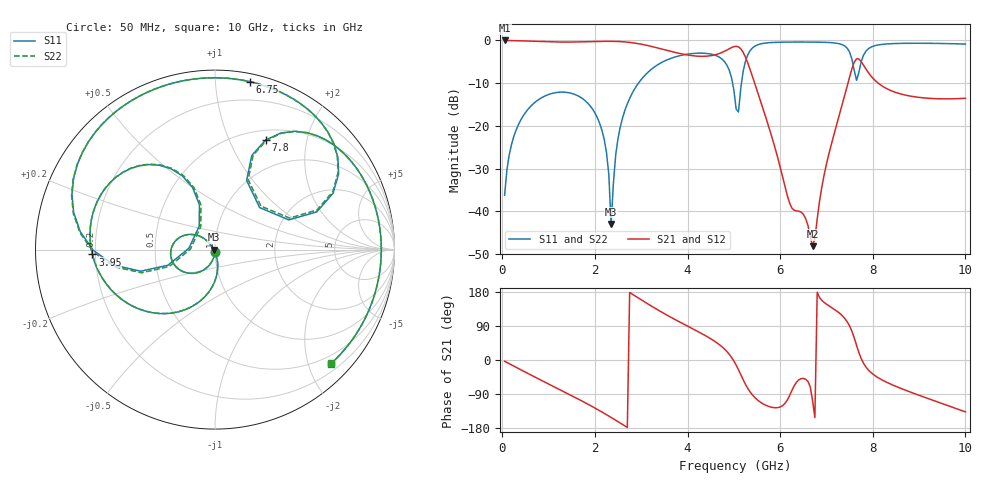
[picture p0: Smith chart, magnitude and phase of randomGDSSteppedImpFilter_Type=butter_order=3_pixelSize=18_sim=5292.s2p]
! freq	dB(S11)	phase(S11)	dB(S12)	phase(S12)
!  dB(S21)	phase(S21)	dB(S22)	phase(S22)
!S-par simulation data
#  GHz  S  DB  R 50
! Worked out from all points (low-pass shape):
!   200 points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, 50 MHz to 10 GHz, reference 50 ohm
!   highest |S21| = -0.01 dB at 50 MHz (marker M1); lowest = -48.1 dB at 6.7 GHz (marker M2)
!   |S21| within 3 dB of the highest: start of sweep to 3.811 GHz; 4.7 GHz to 5.211 GHz (510.4 MHz wide, 10.3 % of centre)
!   lowest |S11| = -42.9 dB at 2.35 GHz (marker M3), VSWR 1.01, Z = 49.3 - j0.0221 ohm
!   |S11| at or under -10 dB: start of sweep to 2.94 GHz; 4.973 GHz to 5.165 GHz (192.5 MHz wide, 3.8 % of centre)
!   |S22| runs from -42.5 to -0.4 dB; largest |S21 - S12| = 0
!   S11 on the Smith chart (normalised r, x): 50 MHz: 1.00, -0.03; 3.95 GHz: 0.19, -0.02; 6.75 GHz: 0.06, +1.22; 7.8 GHz: 0.62, +1.37; 10 GHz: 0.34, -2.41
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0.05  -36.21 -92.4  -0.01 -3.3  -0.01 -3.3  -36.21 -92.4
0.2  -24.29 -103.0  -0.04 -13.0  -0.04 -13.0  -24.29 -103.0
0.55  -16.17 -125.7  -0.16 -35.3  -0.16 -35.3  -16.17 -125.7
1.75  -13.75 160.0  -0.33 -110.1  -0.33 -110.1  -13.75 160.1
2.2  -23.11 132.7  -0.21 -140.7  -0.21 -140.7  -23.11 133.0
2.35  -42.93 -178.2  -0.21 -151.5  -0.21 -151.5  -42.50 -177.1
2.45  -26.69 -77.2  -0.23 -159.0  -0.23 -159.0  -26.68 -77.8
2.6  -18.00 -84.1  -0.31 -170.3  -0.31 -170.3  -18.00 -84.3
3.4  -5.40 -141.8  -1.89 129.3  -1.89 129.3  -5.40 -141.9
3.95  -3.30 -177.7  -3.31 92.6  -3.31 92.6  -3.30 -177.8
4.8  -4.99 123.4  -2.53 28.7  -2.53 28.7  -5.00 122.9
5.05  -16.06 124.0  -1.37 -13.5  -1.37 -13.5  -16.46 121.9
5.2  -7.30 -163.8  -2.77 -51.7  -2.77 -51.7  -7.35 -162.5
5.45  -1.37 158.9  -10.00 -98.7  -10.00 -98.7  -1.37 159.4
5.95  -0.43 119.3  -27.51 -125.6  -27.51 -125.6  -0.43 119.6
6.7  -0.39 80.9  -48.11 -107.4  -48.11 -107.4  -0.39 81.1
6.75  -0.39 78.4  -46.26 -151.7  -46.26 -151.7  -0.39 78.6
7.4  -1.35 36.9  -12.65 109.0  -12.65 109.0  -1.33 37.5
7.6  -7.07 21.9  -5.08 58.1  -5.08 58.1  -6.91 22.9
7.8  -3.45 65.2  -5.79 -8.5  -5.79 -8.5  -3.42 64.7
8.35  -0.79 27.6  -11.54 -61.6  -11.54 -61.6  -0.79 27.6
10  -0.85 -44.5  -13.53 -136.9  -13.53 -136.9  -0.85 -44.3
